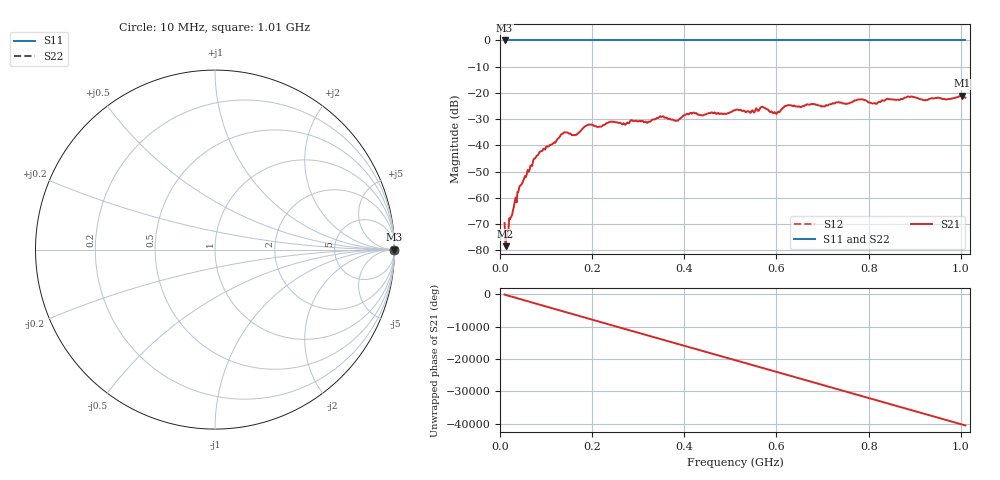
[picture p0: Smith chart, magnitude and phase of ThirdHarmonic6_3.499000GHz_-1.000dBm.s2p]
! 8/17/2025 11:25:29 AM
! C:\ANRITSUVNA\TEMP\TEMP.S2P
! CHANNEL.1
! TR.MEASUREMENT
! RAW.DATA
! RF.CORRECTION.OFF
! AVERAGING.OFF
! IF.BANDWIDTH: 5KHZ
! SWEEPTYPE:  FREQ.SWEEP(Linear)
! Reference Plane Port Info
! PORT:  PORT1  PORT2
! DISTANCE:  0  m  0  m
! TIME:  0  s  0  s
! PHASE.OFFSET:  0  deg.  0  deg.
! LOSS:  0  dB  0  dB
! REF.LOSS:  0  dB  0  dB
! REF.FREQ:  0  Hz  0  Hz
! Power Info
! POWER:  -20  dBm  -20  dBm
! EFF.POWER:  -20  dBm  -20  dBm
! SOURCE.ATTEN:  0  dB  0  dB
! TEST.ATTEN:  0  dB  0  dB
# GHZ S RI R 50.0
! FREQ.GHZ  S11RE  S11IM  S21RE  S21IM  S12RE  S12IM  S22RE  S22IM
!; PortSelection: Port_12
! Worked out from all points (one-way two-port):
!   501 points, 10 MHz to 1.01 GHz, reference 50 ohm
!   highest |S21| = -21.08 dB at 1.002 GHz (marker M1); lowest = -78.4 dB at 12 MHz (marker M2)
!   lowest |S11| = 0.0 dB at 10 MHz (marker M3)
!   |S11| at or under -10 dB: nowhere
!   |S22| runs from 0.0 to 0.0 dB; largest |S21 - S12| = 1.1
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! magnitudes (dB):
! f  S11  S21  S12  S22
! 10 MHz  0.0  -69.6  0.0  0.0
! 12 MHz  0.0  -78.4  0.0  0.0
! 16 MHz  0.0  -73.8  0.0  0.0
! 42 MHz  0.0  -55.8  0.0  0.0
! 76 MHz  0.0  -45.0  0.0  0.0
! 136 MHz  0.0  -35.5  0.0  0.0
! 162 MHz  0.0  -36.1  0.0  0.0
! 178 MHz  0.0  -33.9  0.0  0.0
! 194 MHz  0.0  -32.1  0.0  0.0
! 344 MHz  0.0  -29.5  0.0  0.0
! 382 MHz  0.0  -30.5  0.0  0.0
! 416 MHz  0.0  -27.9  0.0  0.0
! 510 MHz  0.0  -26.6  0.0  0.0
! 570 MHz  0.0  -25.3  0.0  0.0
! 596 MHz  0.0  -27.3  0.0  0.0
! 622 MHz  0.0  -24.9  0.0  0.0
! 678 MHz  0.0  -24.3  0.0  0.0
! 782 MHz  0.0  -22.5  0.0  0.0
! 814 MHz  0.0  -23.9  0.0  0.0
! 844 MHz  0.0  -22.4  0.0  0.0
! 1.002 GHz  0.0  -21.1  0.0  0.0
! 1.01 GHz  0.0  -21.8  0.0  0.0
